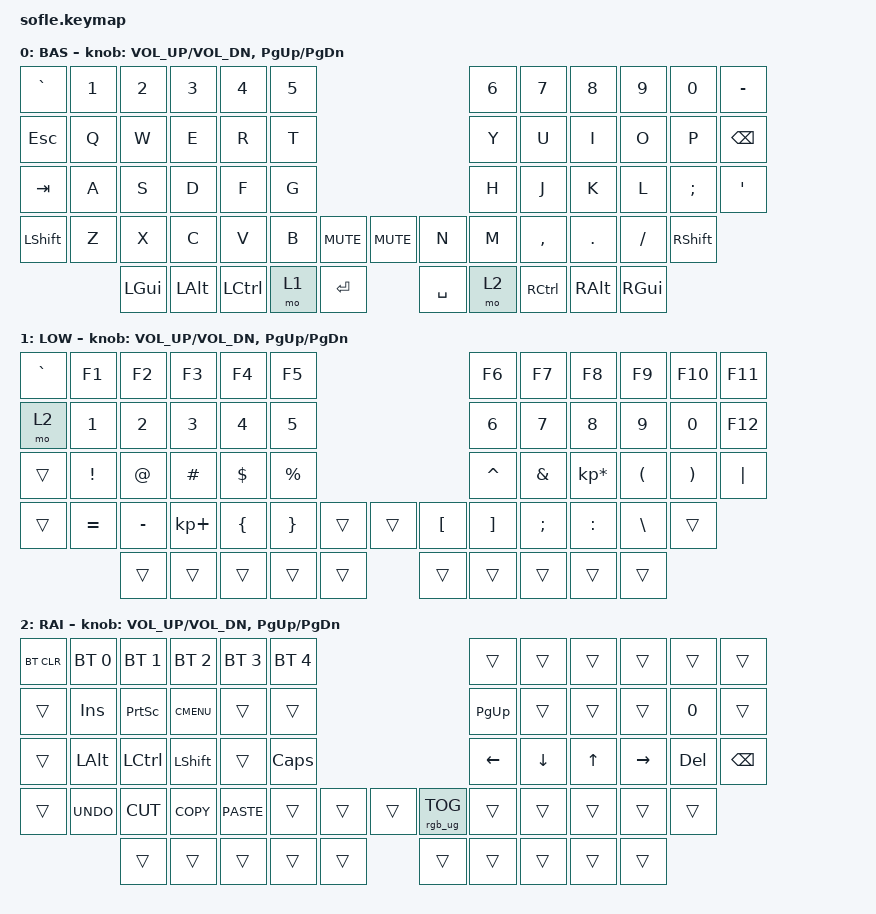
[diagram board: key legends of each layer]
/*
 * Copyright (c) 2020 The ZMK Contributors
 *
 * SPDX-License-Identifier: MIT
 */

#include <behaviors.dtsi>
#include <dt-bindings/zmk/bt.h>
#include <dt-bindings/zmk/ext_power.h>
#include <dt-bindings/zmk/keys.h>
#include <dt-bindings/led/led.h>
#include <dt-bindings/zmk/backlight.h>
#include <dt-bindings/zmk/rgb.h>
#include <dt-bindings/zmk/reset.h>

&nice_view_spi {
    cs-gpios = <&gpio1 1 GPIO_ACTIVE_HIGH>;
};

&pinctrl {
    spi3_default: spi3_default {
        group1 {
            psels = <NRF_PSEL(SPIM_MOSI, 0, 6)>;
        };
    };

    spi3_sleep: spi3_sleep {
        group1 {
            psels = <NRF_PSEL(SPIM_MOSI, 0, 6)>;
            low-power-enable;
        };
    };
};

&spi3 {
    compatible = "nordic,nrf-spim";
    status = "okay";

    pinctrl-0 = <&spi3_default>;
    pinctrl-1 = <&spi3_sleep>;
    pinctrl-names = "default", "sleep";

    led_strip: ws2812@0 {
        compatible = "worldsemi,ws2812-spi";

        /* SPI */
        reg = <0>; /* ignored, but necessary for SPI bindings */
        spi-max-frequency = <4000000>;

        /* WS2812 */
        chain-length = <29>; /* arbitrary; change at will */
        spi-one-frame = <0x70>;
        spi-zero-frame = <0x40>;

        color-mapping = <
            LED_COLOR_ID_GREEN
            LED_COLOR_ID_RED
            LED_COLOR_ID_BLUE
        >;
    };
};

/ {
    chosen {
        zmk,underglow = &led_strip;
    };
};

/ {
    keymap {
        compatible = "zmk,keymap";

        default_layer {
            display-name = "BAS";
            // ------------------------------------------------------------------------------------------------------------
            // |  `    |  1  |  2  |  3   |  4   |  5   |                   |  6   |  7    |  8    |  9   |   0   |       |
            // |  ESC  |  Q  |  W  |  E   |  R   |  T   |                   |  Y   |  U    |  I    |  O   |   P   | BKSPC |
            // |  TAB  |  A  |  S  |  D   |  F   |  G   |                   |  H   |  J    |  K    |  L   |   ;   |   '   |
            // | SHIFT |  Z  |  X  |  C   |  V   |  B   |  MUTE  |  |       |  N   |  M    |  ,    |  .   |   /   | SHIFT |
            //               | GUI | ALT  | CTRL | LOWER|  ENTER |  | SPACE | RAISE| CTRL  | ALT   | GUI  |

            bindings = <
&kp GRAVE  &kp N1  &kp N2    &kp N3    &kp N4     &kp N5                                   &kp N6  &kp N7     &kp N8     &kp N9    &kp N0    &kp MINUS
&kp ESC    &kp Q   &kp W     &kp E     &kp R      &kp T                                    &kp Y   &kp U      &kp I      &kp O     &kp P     &kp BSPC
&kp TAB    &kp A   &kp S     &kp D     &kp F      &kp G                                    &kp H   &kp J      &kp K      &kp L     &kp SEMI  &kp SQT
&kp LSHFT  &kp Z   &kp X     &kp C     &kp V      &kp B   &kp C_MUTE    &kp C_MUTE  &kp N   &kp M      &kp COMMA  &kp DOT   &kp FSLH  &kp RSHFT
                   &kp LGUI  &kp LALT  &kp LCTRL  &mo 1   &kp RET       &kp SPACE          &mo 2   &kp RCTRL  &kp RALT   &kp RGUI
            >;

            sensor-bindings = <&inc_dec_kp C_VOL_UP C_VOL_DN &inc_dec_kp PG_UP PG_DN>;
        };

        lower_layer {
            display-name = "LOW";
            // ------------------------------------------------------------------------------------------------------------
            // | `     |  F1 |  F2 |  F3  |  F4  |  F5  |                   |  F6  |  F7   |  F8   |  F9  |  F10  |  F11  |
            // | RAISE |   1 |   2 |   3  |   4  |   5  |                   |   6  |   7   |   8   |   9  |    0  |  F12  |
            // |       |  !  |  @  |  #   |  $   |  %   |                   |  ^   |  &    |  *    |  (   |   )   |   |   |
            // |       |  =  |  -  |  +   |  {   |  }   |        |  |       |  [   |  ]    |  ;    |  :   |   \   |       |
            //               |     |      |      |      |        |  |       |      |       |       |      |

            bindings = <
&kp GRAVE  &kp F1     &kp F2     &kp F3       &kp F4    &kp F5                       &kp F6     &kp F7    &kp F8           &kp F9     &kp F10   &kp F11
&mo 2      &kp N1     &kp N2     &kp N3       &kp N4    &kp N5                       &kp N6     &kp N7    &kp N8           &kp N9     &kp N0    &kp F12
&trans     &kp EXCL   &kp AT     &kp HASH     &kp DLLR  &kp PRCNT                    &kp CARET  &kp AMPS  &kp KP_MULTIPLY  &kp LPAR   &kp RPAR  &kp PIPE
&trans     &kp EQUAL  &kp MINUS  &kp KP_PLUS  &kp LBRC  &kp RBRC   &trans    &trans  &kp LBKT   &kp RBKT  &kp SEMI         &kp COLON  &kp BSLH  &trans
                      &trans     &trans       &trans    &trans     &trans    &trans  &trans     &trans    &trans           &trans
            >;

            sensor-bindings = <&inc_dec_kp C_VOL_UP C_VOL_DN &inc_dec_kp PG_UP PG_DN>;
        };

        raise_layer {
            display-name = "RAI";
            // ------------------------------------------------------------------------------------------------------------
            // |BTCLR| BT1  | BT2  |  BT3  |  BT4  |  BT5 |                |      |      |       |      |       |       |
            // |     | INS  | PSCR | GUI   |       |      |                | PGUP |      |       |      |       |       |
            // |     | ALT  | CTRL | SHIFT |       | CAPS |                |  <-  |   v  |   ^   |  ->  |  DEL  | BKSPC |
            // |     | UNDO | CUT  | COPY  | PASTE |      |      |  |      |      |      |       |      |       |       |
            //              |      |       |       |      |      |  |      |      |      |       |      |

            bindings = <
&bt BT_CLR  &bt BT_SEL 0  &bt BT_SEL 1  &bt BT_SEL 2  &bt BT_SEL 3  &bt BT_SEL 4                    &trans           &trans    &trans  &trans     &trans   &trans
&trans      &kp INS       &kp PSCRN     &kp K_CMENU   &trans        &trans                          &kp PG_UP        &trans    &trans  &trans     &kp N0   &trans
&trans      &kp LALT      &kp LCTRL     &kp LSHFT     &trans        &kp CLCK                        &kp LEFT         &kp DOWN  &kp UP  &kp RIGHT  &kp DEL  &kp BSPC
&trans      &kp K_UNDO    &kp K_CUT     &kp K_COPY    &kp K_PASTE   &trans        &trans    &trans  &rgb_ug RGB_TOG  &trans    &trans  &trans     &trans   &trans
                          &trans        &trans        &trans        &trans        &trans    &trans  &trans           &trans    &trans  &trans
            >;

            sensor-bindings = <&inc_dec_kp C_VOL_UP C_VOL_DN &inc_dec_kp PG_UP PG_DN>;
        };
    };
};
